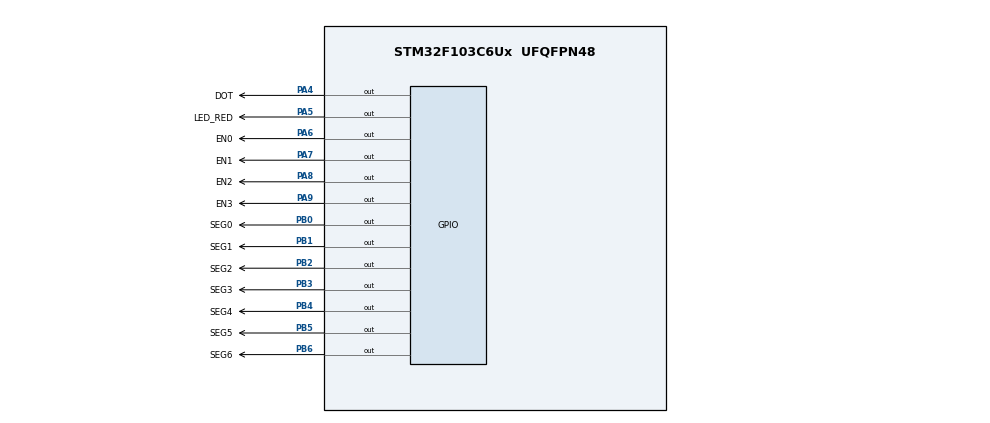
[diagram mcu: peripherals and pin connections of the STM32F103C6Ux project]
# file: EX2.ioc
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Mcu.Family=STM32F1
Mcu.Name=STM32F103C6Ux
Mcu.Package=UFQFPN48
NVIC.PriorityGroup=NVIC_PRIORITYGROUP_4
NVIC.TIM2_IRQn=true\:0\:0\:false\:false\:true\:true\:true
PA4.GPIO_Label=DOT
PA4.Signal=GPIO_Output
PA5.GPIO_Label=LED_RED
PA5.Signal=GPIO_Output
PA6.GPIO_Label=EN0
PA6.Signal=GPIO_Output
PA7.GPIO_Label=EN1
PA7.Signal=GPIO_Output
PA8.GPIO_Label=EN2
PA8.Signal=GPIO_Output
PA9.GPIO_Label=EN3
PA9.Signal=GPIO_Output
PB0.GPIO_Label=SEG0
PB0.Signal=GPIO_Output
PB1.GPIO_Label=SEG1
PB1.Signal=GPIO_Output
PB2.GPIO_Label=SEG2
PB2.Signal=GPIO_Output
PB3.GPIO_Label=SEG3
PB3.Signal=GPIO_Output
PB4.GPIO_Label=SEG4
PB4.Signal=GPIO_Output
PB5.GPIO_Label=SEG5
PB5.Signal=GPIO_Output
PB6.GPIO_Label=SEG6
PB6.Signal=GPIO_Output
ProjectManager.HeapSize=0x200
ProjectManager.StackSize=0x400
ProjectManager.TargetToolchain=STM32CubeIDE
RCC.APB1Freq_Value=8000000
RCC.APB2Freq_Value=8000000
TIM2.Period=9
TIM2.Prescaler=7999
VP_SYS_VS_ND.Mode=No_Debug
VP_TIM2_VS_ClockSourceINT.Mode=Internal
board=custom

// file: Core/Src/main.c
/* USER CODE BEGIN Header */
/**
  ******************************************************************************
  * @file           : main.c
  * @brief          : Main program body
  ******************************************************************************
  * @attention
  *
  * <h2><center>&copy; Copyright (c) 2024 STMicroelectronics.
  * All rights reserved.</center></h2>
  *
  * This software component is licensed by ST under BSD 3-Clause license,
  * the "License"; You may not use this file except in compliance with the
  * License. You may obtain a copy of the License at:
  *                        opensource.org/licenses/BSD-3-Clause
  *
  ******************************************************************************
  */
/* USER CODE END Header */
#include "main.h"

TIM_HandleTypeDef htim2;

void SystemClock_Config(void);
static void MX_GPIO_Init(void);
static void MX_TIM2_Init(void);

/* USER CODE BEGIN 0 */
void display7SEG(int num)
{
	if(num == 0)
	{
		HAL_GPIO_WritePin(SEG0_GPIO_Port, SEG0_Pin, GPIO_PIN_RESET);
		HAL_GPIO_WritePin(SEG1_GPIO_Port, SEG1_Pin, GPIO_PIN_RESET);
		HAL_GPIO_WritePin(SEG2_GPIO_Port, SEG2_Pin, GPIO_PIN_RESET);
		HAL_GPIO_WritePin(SEG3_GPIO_Port, SEG3_Pin, GPIO_PIN_RESET);
		HAL_GPIO_WritePin(SEG4_GPIO_Port, SEG4_Pin, GPIO_PIN_RESET);
		HAL_GPIO_WritePin(SEG5_GPIO_Port, SEG5_Pin, GPIO_PIN_RESET);
		HAL_GPIO_WritePin(SEG6_GPIO_Port, SEG6_Pin, GPIO_PIN_SET);
	}
	if(num == 1)
	{
		HAL_GPIO_WritePin(SEG0_GPIO_Port, SEG0_Pin, GPIO_PIN_SET);
		HAL_GPIO_WritePin(SEG1_GPIO_Port, SEG1_Pin, GPIO_PIN_RESET);
		HAL_GPIO_WritePin(SEG2_GPIO_Port, SEG2_Pin, GPIO_PIN_RESET);
		HAL_GPIO_WritePin(SEG3_GPIO_Port, SEG3_Pin, GPIO_PIN_SET);
		HAL_GPIO_WritePin(SEG4_GPIO_Port, SEG4_Pin, GPIO_PIN_SET);
		HAL_GPIO_WritePin(SEG5_GPIO_Port, SEG5_Pin, GPIO_PIN_SET);
		HAL_GPIO_WritePin(SEG6_GPIO_Port, SEG6_Pin, GPIO_PIN_SET);
	}
	if(num == 2)
	{
		HAL_GPIO_WritePin(SEG0_GPIO_Port, SEG0_Pin, GPIO_PIN_RESET);
		HAL_GPIO_WritePin(SEG1_GPIO_Port, SEG1_Pin, GPIO_PIN_RESET);
		HAL_GPIO_WritePin(SEG2_GPIO_Port, SEG2_Pin, GPIO_PIN_SET);
		HAL_GPIO_WritePin(SEG3_GPIO_Port, SEG3_Pin, GPIO_PIN_RESET);
		HAL_GPIO_WritePin(SEG4_GPIO_Port, SEG4_Pin, GPIO_PIN_RESET);
		HAL_GPIO_WritePin(SEG5_GPIO_Port, SEG5_Pin, GPIO_PIN_SET);
		HAL_GPIO_WritePin(SEG6_GPIO_Port, SEG6_Pin, GPIO_PIN_RESET);

	}
	if(num == 3)
	{
		HAL_GPIO_WritePin(SEG0_GPIO_Port, SEG0_Pin, GPIO_PIN_RESET);
		HAL_GPIO_WritePin(SEG1_GPIO_Port, SEG1_Pin, GPIO_PIN_RESET);
		HAL_GPIO_WritePin(SEG2_GPIO_Port, SEG2_Pin, GPIO_PIN_RESET);
		HAL_GPIO_WritePin(SEG3_GPIO_Port, SEG3_Pin, GPIO_PIN_RESET);
		HAL_GPIO_WritePin(SEG4_GPIO_Port, SEG4_Pin, GPIO_PIN_SET);
		HAL_GPIO_WritePin(SEG5_GPIO_Port, SEG5_Pin, GPIO_PIN_SET);
		HAL_GPIO_WritePin(SEG6_GPIO_Port, SEG6_Pin, GPIO_PIN_RESET);
	}
	if(num == 4)
	{
		HAL_GPIO_WritePin(SEG0_GPIO_Port, SEG0_Pin, GPIO_PIN_SET);
		HAL_GPIO_WritePin(SEG1_GPIO_Port, SEG1_Pin, GPIO_PIN_RESET);
		HAL_GPIO_WritePin(SEG2_GPIO_Port, SEG2_Pin, GPIO_PIN_RESET);
		HAL_GPIO_WritePin(SEG3_GPIO_Port, SEG3_Pin, GPIO_PIN_SET);
		HAL_GPIO_WritePin(SEG4_GPIO_Port, SEG4_Pin, GPIO_PIN_SET);
		HAL_GPIO_WritePin(SEG5_GPIO_Port, SEG5_Pin, GPIO_PIN_RESET);
		HAL_GPIO_WritePin(SEG6_GPIO_Port, SEG6_Pin, GPIO_PIN_RESET);
	}
	if(num == 5)
	{
		HAL_GPIO_WritePin(SEG0_GPIO_Port, SEG0_Pin, GPIO_PIN_RESET);
		HAL_GPIO_WritePin(SEG1_GPIO_Port, SEG1_Pin, GPIO_PIN_SET);
		HAL_GPIO_WritePin(SEG2_GPIO_Port, SEG2_Pin, GPIO_PIN_RESET);
		HAL_GPIO_WritePin(SEG3_GPIO_Port, SEG3_Pin, GPIO_PIN_RESET);
		HAL_GPIO_WritePin(SEG4_GPIO_Port, SEG4_Pin, GPIO_PIN_SET);
		HAL_GPIO_WritePin(SEG5_GPIO_Port, SEG5_Pin, GPIO_PIN_RESET);
		HAL_GPIO_WritePin(SEG6_GPIO_Port, SEG6_Pin, GPIO_PIN_RESET);
	}
	if(num == 6)
	{
		HAL_GPIO_WritePin(SEG0_GPIO_Port, SEG0_Pin, GPIO_PIN_RESET);
		HAL_GPIO_WritePin(SEG1_GPIO_Port, SEG1_Pin, GPIO_PIN_SET);
		HAL_GPIO_WritePin(SEG2_GPIO_Port, SEG2_Pin, GPIO_PIN_RESET);
		HAL_GPIO_WritePin(SEG3_GPIO_Port, SEG3_Pin, GPIO_PIN_RESET);
		HAL_GPIO_WritePin(SEG4_GPIO_Port, SEG4_Pin, GPIO_PIN_RESET);
		HAL_GPIO_WritePin(SEG5_GPIO_Port, SEG5_Pin, GPIO_PIN_RESET);
		HAL_GPIO_WritePin(SEG6_GPIO_Port, SEG6_Pin, GPIO_PIN_RESET);

	}
	if(num == 7)
	{
		HAL_GPIO_WritePin(SEG0_GPIO_Port, SEG0_Pin, GPIO_PIN_RESET);
		HAL_GPIO_WritePin(SEG1_GPIO_Port, SEG1_Pin, GPIO_PIN_RESET);
		HAL_GPIO_WritePin(SEG2_GPIO_Port, SEG2_Pin, GPIO_PIN_RESET);
		HAL_GPIO_WritePin(SEG3_GPIO_Port, SEG3_Pin, GPIO_PIN_SET);
		HAL_GPIO_WritePin(SEG4_GPIO_Port, SEG4_Pin, GPIO_PIN_SET);
		HAL_GPIO_WritePin(SEG5_GPIO_Port, SEG5_Pin, GPIO_PIN_SET);
		HAL_GPIO_WritePin(SEG6_GPIO_Port, SEG6_Pin, GPIO_PIN_SET);
	}
	if(num == 8)
	{
		HAL_GPIO_WritePin(SEG0_GPIO_Port, SEG0_Pin, GPIO_PIN_RESET);
		HAL_GPIO_WritePin(SEG1_GPIO_Port, SEG1_Pin, GPIO_PIN_RESET);
		HAL_GPIO_WritePin(SEG2_GPIO_Port, SEG2_Pin, GPIO_PIN_RESET);
		HAL_GPIO_WritePin(SEG3_GPIO_Port, SEG3_Pin, GPIO_PIN_RESET);
		HAL_GPIO_WritePin(SEG4_GPIO_Port, SEG4_Pin, GPIO_PIN_RESET);
		HAL_GPIO_WritePin(SEG5_GPIO_Port, SEG5_Pin, GPIO_PIN_RESET);
		HAL_GPIO_WritePin(SEG6_GPIO_Port, SEG6_Pin, GPIO_PIN_RESET);
	}
	if(num == 9)
	{
		HAL_GPIO_WritePin(SEG0_GPIO_Port, SEG0_Pin, GPIO_PIN_RESET);
		HAL_GPIO_WritePin(SEG1_GPIO_Port, SEG1_Pin, GPIO_PIN_RESET);
		HAL_GPIO_WritePin(SEG2_GPIO_Port, SEG2_Pin, GPIO_PIN_RESET);
		HAL_GPIO_WritePin(SEG3_GPIO_Port, SEG3_Pin, GPIO_PIN_RESET);
		HAL_GPIO_WritePin(SEG4_GPIO_Port, SEG4_Pin, GPIO_PIN_SET);
		HAL_GPIO_WritePin(SEG5_GPIO_Port, SEG5_Pin, GPIO_PIN_RESET);
		HAL_GPIO_WritePin(SEG6_GPIO_Port, SEG6_Pin, GPIO_PIN_RESET);
	}
}

/* USER CODE END 0 */

int main(void)
{

  /* MCU Configuration--------------------------------------------------------*/

  /* Reset of all peripherals, Initializes the Flash interface and the Systick. */
  HAL_Init();

  /* Configure the system clock */
  SystemClock_Config();

  /* Initialize all configured peripherals */
  MX_GPIO_Init();
  MX_TIM2_Init();
  /* USER CODE BEGIN 2 */
  HAL_TIM_Base_Start_IT(&htim2);
  /* USER CODE END 2 */

  /* Infinite loop */
  while (1)
  {

  }
}

void SystemClock_Config(void)
{
  RCC_OscInitTypeDef RCC_OscInitStruct = {0};
  RCC_ClkInitTypeDef RCC_ClkInitStruct = {0};

  /** Initializes the RCC Oscillators according to the specified parameters
  * in the RCC_OscInitTypeDef structure.
  */
  RCC_OscInitStruct.OscillatorType = RCC_OSCILLATORTYPE_HSI;
  RCC_OscInitStruct.HSIState = RCC_HSI_ON;
  RCC_OscInitStruct.HSICalibrationValue = RCC_HSICALIBRATION_DEFAULT;
  RCC_OscInitStruct.PLL.PLLState = RCC_PLL_NONE;
  if (HAL_RCC_OscConfig(&RCC_OscInitStruct) != HAL_OK)
  {
    Error_Handler();
  }
  /** Initializes the CPU, AHB and APB buses clocks
  */
  RCC_ClkInitStruct.ClockType = RCC_CLOCKTYPE_HCLK|RCC_CLOCKTYPE_SYSCLK
                              |RCC_CLOCKTYPE_PCLK1|RCC_CLOCKTYPE_PCLK2;
  RCC_ClkInitStruct.SYSCLKSource = RCC_SYSCLKSOURCE_HSI;
  RCC_ClkInitStruct.AHBCLKDivider = RCC_SYSCLK_DIV1;
  RCC_ClkInitStruct.APB1CLKDivider = RCC_HCLK_DIV1;
  RCC_ClkInitStruct.APB2CLKDivider = RCC_HCLK_DIV1;

  if (HAL_RCC_ClockConfig(&RCC_ClkInitStruct, FLASH_LATENCY_0) != HAL_OK)
  {
    Error_Handler();
  }
}

static void MX_TIM2_Init(void)
{

  TIM_ClockConfigTypeDef sClockSourceConfig = {0};
  TIM_MasterConfigTypeDef sMasterConfig = {0};

  htim2.Instance = TIM2;
  htim2.Init.Prescaler = 7999;
  htim2.Init.CounterMode = TIM_COUNTERMODE_UP;
  htim2.Init.Period = 9;
  htim2.Init.ClockDivision = TIM_CLOCKDIVISION_DIV1;
  htim2.Init.AutoReloadPreload = TIM_AUTORELOAD_PRELOAD_DISABLE;
  if (HAL_TIM_Base_Init(&htim2) != HAL_OK)
  {
    Error_Handler();
  }
  sClockSourceConfig.ClockSource = TIM_CLOCKSOURCE_INTERNAL;
  if (HAL_TIM_ConfigClockSource(&htim2, &sClockSourceConfig) != HAL_OK)
  {
    Error_Handler();
  }
  sMasterConfig.MasterOutputTrigger = TIM_TRGO_RESET;
  sMasterConfig.MasterSlaveMode = TIM_MASTERSLAVEMODE_DISABLE;
  if (HAL_TIMEx_MasterConfigSynchronization(&htim2, &sMasterConfig) != HAL_OK)
  {
    Error_Handler();
  }

}

static void MX_GPIO_Init(void)
{
  GPIO_InitTypeDef GPIO_InitStruct = {0};

  /* GPIO Ports Clock Enable */
  __HAL_RCC_GPIOA_CLK_ENABLE();
  __HAL_RCC_GPIOB_CLK_ENABLE();

  /*Configure GPIO pin Output Level */
  HAL_GPIO_WritePin(GPIOA, DOT_Pin|LED_RED_Pin|EN0_Pin|EN1_Pin
                          |EN2_Pin|EN3_Pin, GPIO_PIN_RESET);

  /*Configure GPIO pin Output Level */
  HAL_GPIO_WritePin(GPIOB, SEG0_Pin|SEG1_Pin|SEG2_Pin|SEG3_Pin
                          |SEG4_Pin|SEG5_Pin|SEG6_Pin, GPIO_PIN_RESET);

  /*Configure GPIO pins : DOT_Pin LED_RED_Pin EN0_Pin EN1_Pin
                           EN2_Pin EN3_Pin */
  GPIO_InitStruct.Pin = DOT_Pin|LED_RED_Pin|EN0_Pin|EN1_Pin
                          |EN2_Pin|EN3_Pin;
  GPIO_InitStruct.Mode = GPIO_MODE_OUTPUT_PP;
  GPIO_InitStruct.Pull = GPIO_NOPULL;
  GPIO_InitStruct.Speed = GPIO_SPEED_FREQ_LOW;
  HAL_GPIO_Init(GPIOA, &GPIO_InitStruct);

  /*Configure GPIO pins : SEG0_Pin SEG1_Pin SEG2_Pin SEG3_Pin
                           SEG4_Pin SEG5_Pin SEG6_Pin */
  GPIO_InitStruct.Pin = SEG0_Pin|SEG1_Pin|SEG2_Pin|SEG3_Pin
                          |SEG4_Pin|SEG5_Pin|SEG6_Pin;
  GPIO_InitStruct.Mode = GPIO_MODE_OUTPUT_PP;
  GPIO_InitStruct.Pull = GPIO_NOPULL;
  GPIO_InitStruct.Speed = GPIO_SPEED_FREQ_LOW;
  HAL_GPIO_Init(GPIOB, &GPIO_InitStruct);

}

/* USER CODE BEGIN 4 */
int counter_7seg = 50;
int counter_led_red = 100;
int status_7seg = 0;

void HAL_TIM_PeriodElapsedCallback(TIM_HandleTypeDef* htim)
{
	if(counter_led_red > 0) counter_led_red --;
	if(counter_led_red <= 0)
	{
		counter_led_red = 100;
		HAL_GPIO_TogglePin(LED_RED_GPIO_Port, LED_RED_Pin);
		HAL_GPIO_TogglePin(DOT_GPIO_Port, DOT_Pin);
	}
	if(counter_7seg > 0) counter_7seg --;
	if(counter_7seg <= 0)
	{
		counter_7seg = 50;
		switch(status_7seg)
		{
		case 0:
		{
			HAL_GPIO_WritePin(EN0_GPIO_Port, EN0_Pin, GPIO_PIN_RESET);
			HAL_GPIO_WritePin(EN1_GPIO_Port, EN1_Pin, GPIO_PIN_SET);
			HAL_GPIO_WritePin(EN2_GPIO_Port, EN2_Pin, GPIO_PIN_SET);
			HAL_GPIO_WritePin(EN3_GPIO_Port, EN3_Pin, GPIO_PIN_SET);
			display7SEG(1);
			status_7seg = 1;
			break;
		}
		case 1:
		{
			HAL_GPIO_WritePin(EN0_GPIO_Port, EN0_Pin, GPIO_PIN_SET);
			HAL_GPIO_WritePin(EN1_GPIO_Port, EN1_Pin, GPIO_PIN_RESET);
			HAL_GPIO_WritePin(EN2_GPIO_Port, EN2_Pin, GPIO_PIN_SET);
			HAL_GPIO_WritePin(EN3_GPIO_Port, EN3_Pin, GPIO_PIN_SET);
			display7SEG(2);
			status_7seg = 2;
			break;
		}
		case 2:
		{
			HAL_GPIO_WritePin(EN0_GPIO_Port, EN0_Pin, GPIO_PIN_SET);
			HAL_GPIO_WritePin(EN1_GPIO_Port, EN1_Pin, GPIO_PIN_SET);
			HAL_GPIO_WritePin(EN2_GPIO_Port, EN2_Pin, GPIO_PIN_RESET);
			HAL_GPIO_WritePin(EN3_GPIO_Port, EN3_Pin, GPIO_PIN_SET);
			display7SEG(3);
			status_7seg = 3;
			break;
		}
		case 3:
		{
			HAL_GPIO_WritePin(EN0_GPIO_Port, EN0_Pin, GPIO_PIN_SET);
			HAL_GPIO_WritePin(EN1_GPIO_Port, EN1_Pin, GPIO_PIN_SET);
			HAL_GPIO_WritePin(EN2_GPIO_Port, EN2_Pin, GPIO_PIN_SET);
			HAL_GPIO_WritePin(EN3_GPIO_Port, EN3_Pin, GPIO_PIN_RESET);
			display7SEG(0);
			status_7seg = 0;
			break;
		}
		default:
			break;
		}
	}

}
/* USER CODE END 4 */

void Error_Handler(void)
{
  __disable_irq();
  while (1)
  {
  }
}

/************************ (C) COPYRIGHT STMicroelectronics *****END OF FILE****/
